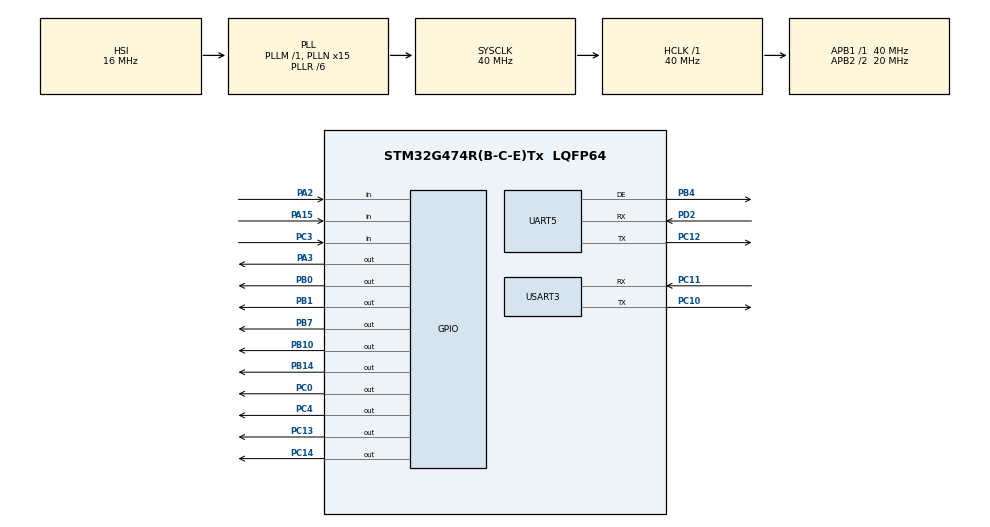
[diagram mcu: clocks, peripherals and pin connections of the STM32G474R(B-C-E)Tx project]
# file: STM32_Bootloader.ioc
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IWDG.Prescaler=IWDG_PRESCALER_8
Mcu.Family=STM32G4
Mcu.Name=STM32G474R(B-C-E)Tx
Mcu.Package=LQFP64
NVIC.PriorityGroup=NVIC_PRIORITYGROUP_4
PA13.Mode=Serial_Wire
PA13.Signal=SYS_JTMS-SWDIO
PA14.Mode=Serial_Wire
PA14.Signal=SYS_JTCK-SWCLK
PA15.GPIO_PuPd=GPIO_PULLDOWN
PA15.Signal=GPIO_Input
PA2.Signal=GPIO_Input
PA3.Signal=GPIO_Output
PB0.Signal=GPIO_Output
PB1.Signal=GPIO_Output
PB10.Signal=GPIO_Output
PB14.Signal=GPIO_Output
PB4.Mode=Hardware Flow Control (RS485)
PB4.Signal=UART5_DE
PB7.Signal=GPIO_Output
PC0.Signal=GPIO_Output
PC10.Mode=Asynchronous
PC10.Signal=USART3_TX
PC11.Mode=Asynchronous
PC11.Signal=USART3_RX
PC12.Mode=Asynchronous
PC12.Signal=UART5_TX
PC13.Signal=GPIO_Output
PC14-OSC32_IN.Signal=GPIO_Output
PC3.Signal=GPIO_Input
PC4.Signal=GPIO_Output
PD2.Mode=Asynchronous
PD2.Signal=UART5_RX
PF0-OSC_IN.Mode=HSE-External-Oscillator
PF0-OSC_IN.Signal=RCC_OSC_IN
PF1-OSC_OUT.Mode=HSE-External-Oscillator
PF1-OSC_OUT.Signal=RCC_OSC_OUT
ProjectManager.HeapSize=0x200
ProjectManager.StackSize=0x400
ProjectManager.TargetToolchain=STM32CubeIDE
RCC.ADC12Freq_Value=40000000
RCC.ADC345Freq_Value=40000000
RCC.AHBFreq_Value=40000000
RCC.APB1Freq_Value=40000000
RCC.APB1TimFreq_Value=40000000
RCC.APB2CLKDivider=RCC_HCLK_DIV2
RCC.APB2Freq_Value=20000000
RCC.APB2TimFreq_Value=40000000
RCC.CortexFreq_Value=40000000
RCC.EXTERNAL_CLOCK_VALUE=12288000
RCC.HCLKFreq_Value=40000000
RCC.HSE_VALUE=12000000
RCC.HSI48_VALUE=48000000
RCC.HSI_VALUE=16000000
RCC.LPTIM1CLockSelection=RCC_LPTIM1CLKSOURCE_LSI
RCC.LSE_VALUE=32768
RCC.PLLN=20
RCC.PLLR=RCC_PLLR_DIV6
RCC.PLLSourceVirtual=RCC_PLLSOURCE_HSE
RCC.SYSCLKFreq_VALUE=40000000
RCC.SYSCLKSource=RCC_SYSCLKSOURCE_PLLCLK
RCC.USBFreq_Value=120000000
RCC.VCOOutputFreq_Value=240000000
UART5.Parity=PARITY_EVEN
UART5.WordLength=WORDLENGTH_9B
USART3.VirtualMode-Asynchronous=VM_ASYNC
VP_IWDG_VS_IWDG.Mode=IWDG_Activate
VP_SYS_VS_DBSignals.Mode=DisableDeadBatterySignals
board=custom

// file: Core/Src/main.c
/* USER CODE BEGIN Header */
/**
  ******************************************************************************
  * @file           : main.c
  * @brief          : Main program body
  ******************************************************************************
  * @attention
  *
  * Copyright (c) 2024 STMicroelectronics.
  * All rights reserved.
  *
  * This software is licensed under terms that can be found in the LICENSE file
  * in the root directory of this software component.
  * If no LICENSE file comes with this software, it is provided AS-IS.
  *
  ******************************************************************************
  */
/* USER CODE END Header */
#include "main.h"

/* USER CODE BEGIN Includes */
#include "stm32g4xx_ll_rcc.h"
#include "stm32g4xx_ll_bus.h"
#include "app_openbootloader.h"
/* USER CODE END Includes */

IWDG_HandleTypeDef hiwdg;

UART_HandleTypeDef huart5;
UART_HandleTypeDef huart3;

void SystemClock_Config(void);
static void MX_GPIO_Init(void);
static void MX_UART5_Init(void);
static void MX_USART3_UART_Init(void);
static void MX_IWDG_Init(void);

/* USER CODE BEGIN 0 */
void System_DeInit(void)
{
  HAL_RCC_DeInit();
}
/* USER CODE END 0 */

int main(void)
{

  /* MCU Configuration--------------------------------------------------------*/

  /* Reset of all peripherals, Initializes the Flash interface and the Systick. */
  HAL_Init();

  /* Configure the system clock */
  SystemClock_Config();

  /* USER CODE BEGIN SysInit */

  MX_GPIO_Init();

  // both LEDs turn on in bootloader automatically
  //GPIOB->BRR = (1<<1);  // enable green LED
  //GPIOB->BSRR = (1<<1);  // disable green LED

  // check emergency button:
  HAL_Delay(1000);  // 1sec; 10ms should be enough
  // released means pin high -> boot application
  // pressed means pin low -> stay in bootloader
  if ( HAL_GPIO_ReadPin (GPIOA, GPIO_PIN_15) ) {
	// prevent noise
    if ( HAL_GPIO_ReadPin (GPIOA, GPIO_PIN_15) ) {

	// Store watchdog flag, because bootloader clears it
	if (__HAL_RCC_GET_FLAG(RCC_FLAG_IWDGRST) != RESET) {
		HAL_PWR_EnableBkUpAccess();
		TAMP->BKP0R = 0x57444721;  // "WDG!"
	}
	// start application
	OPENBL_FLASH_JumpToAddress(0x8000000+0x00008000U);
    }
  }

  OpenBootloader_Init();

  /*******************/
  /* enable RS485 DE */
  /*******************/

  // V1:  -> does not work
  //MX_UART5_Init();

  // V2:
  huart5.Instance = UART5;
  huart5.Init.BaudRate = 115200;
  huart5.Init.WordLength = UART_WORDLENGTH_9B;
  huart5.Init.StopBits = UART_STOPBITS_1;
  huart5.Init.Parity = UART_PARITY_EVEN;
  huart5.Init.Mode = UART_MODE_TX_RX;
  huart5.Init.HwFlowCtl = UART_HWCONTROL_NONE;
  huart5.Init.OverSampling = UART_OVERSAMPLING_16;
  huart5.Init.OneBitSampling = UART_ONE_BIT_SAMPLE_DISABLE;
  huart5.Init.ClockPrescaler = UART_PRESCALER_DIV1;
  huart5.AdvancedInit.AdvFeatureInit = UART_ADVFEATURE_NO_INIT;
  if (HAL_RS485Ex_Init(&huart5, UART_DE_POLARITY_HIGH, 0, 0) != HAL_OK)
  {
    Error_Handler();
  }

  /* Infinite loop */
  while (1)
  {
    OpenBootloader_ProtocolDetection();
  }

  // todo remove code below. It is not executed.

  /* USER CODE END SysInit */

  /* Initialize all configured peripherals */
  MX_GPIO_Init();
  MX_UART5_Init();
  MX_USART3_UART_Init();
  MX_IWDG_Init();

  /* Infinite loop */
  while (1)
  {

  }
}

void SystemClock_Config(void)
{
  RCC_OscInitTypeDef RCC_OscInitStruct = {0};
  RCC_ClkInitTypeDef RCC_ClkInitStruct = {0};

  /** Configure the main internal regulator output voltage
  */
  HAL_PWREx_ControlVoltageScaling(PWR_REGULATOR_VOLTAGE_SCALE1);

  /** Initializes the RCC Oscillators according to the specified parameters
  * in the RCC_OscInitTypeDef structure.
  */
  RCC_OscInitStruct.OscillatorType = RCC_OSCILLATORTYPE_HSI|RCC_OSCILLATORTYPE_LSI;
  RCC_OscInitStruct.HSIState = RCC_HSI_ON;
  RCC_OscInitStruct.HSICalibrationValue = RCC_HSICALIBRATION_DEFAULT;
  RCC_OscInitStruct.LSIState = RCC_LSI_ON;
  RCC_OscInitStruct.PLL.PLLState = RCC_PLL_ON;
  RCC_OscInitStruct.PLL.PLLSource = RCC_PLLSOURCE_HSI;
  RCC_OscInitStruct.PLL.PLLM = RCC_PLLM_DIV1;
  RCC_OscInitStruct.PLL.PLLN = 15;
  RCC_OscInitStruct.PLL.PLLP = RCC_PLLP_DIV2;
  RCC_OscInitStruct.PLL.PLLQ = RCC_PLLQ_DIV2;
  RCC_OscInitStruct.PLL.PLLR = RCC_PLLR_DIV6;
  if (HAL_RCC_OscConfig(&RCC_OscInitStruct) != HAL_OK)
  {
    Error_Handler();
  }

  /** Initializes the CPU, AHB and APB buses clocks
  */
  RCC_ClkInitStruct.ClockType = RCC_CLOCKTYPE_HCLK|RCC_CLOCKTYPE_SYSCLK
                              |RCC_CLOCKTYPE_PCLK1|RCC_CLOCKTYPE_PCLK2;
  RCC_ClkInitStruct.SYSCLKSource = RCC_SYSCLKSOURCE_PLLCLK;
  RCC_ClkInitStruct.AHBCLKDivider = RCC_SYSCLK_DIV1;
  RCC_ClkInitStruct.APB1CLKDivider = RCC_HCLK_DIV1;
  RCC_ClkInitStruct.APB2CLKDivider = RCC_HCLK_DIV2;

  if (HAL_RCC_ClockConfig(&RCC_ClkInitStruct, FLASH_LATENCY_1) != HAL_OK)
  {
    Error_Handler();
  }
}

static void MX_IWDG_Init(void)
{

  hiwdg.Instance = IWDG;
  hiwdg.Init.Prescaler = IWDG_PRESCALER_8;
  hiwdg.Init.Window = 4095;
  hiwdg.Init.Reload = 4095;
  if (HAL_IWDG_Init(&hiwdg) != HAL_OK)
  {
    Error_Handler();
  }

}

static void MX_UART5_Init(void)
{

  huart5.Instance = UART5;
  huart5.Init.BaudRate = 115200;
  huart5.Init.WordLength = UART_WORDLENGTH_9B;
  huart5.Init.StopBits = UART_STOPBITS_1;
  huart5.Init.Parity = UART_PARITY_EVEN;
  huart5.Init.Mode = UART_MODE_TX_RX;
  huart5.Init.HwFlowCtl = UART_HWCONTROL_NONE;
  huart5.Init.OverSampling = UART_OVERSAMPLING_16;
  huart5.Init.OneBitSampling = UART_ONE_BIT_SAMPLE_DISABLE;
  huart5.Init.ClockPrescaler = UART_PRESCALER_DIV1;
  huart5.AdvancedInit.AdvFeatureInit = UART_ADVFEATURE_NO_INIT;
  if (HAL_RS485Ex_Init(&huart5, UART_DE_POLARITY_HIGH, 0, 0) != HAL_OK)
  {
    Error_Handler();
  }
  if (HAL_UARTEx_SetTxFifoThreshold(&huart5, UART_TXFIFO_THRESHOLD_1_8) != HAL_OK)
  {
    Error_Handler();
  }
  if (HAL_UARTEx_SetRxFifoThreshold(&huart5, UART_RXFIFO_THRESHOLD_1_8) != HAL_OK)
  {
    Error_Handler();
  }
  if (HAL_UARTEx_DisableFifoMode(&huart5) != HAL_OK)
  {
    Error_Handler();
  }

}

static void MX_USART3_UART_Init(void)
{

  huart3.Instance = USART3;
  huart3.Init.BaudRate = 115200;
  huart3.Init.WordLength = UART_WORDLENGTH_8B;
  huart3.Init.StopBits = UART_STOPBITS_1;
  huart3.Init.Parity = UART_PARITY_NONE;
  huart3.Init.Mode = UART_MODE_TX_RX;
  huart3.Init.HwFlowCtl = UART_HWCONTROL_NONE;
  huart3.Init.OverSampling = UART_OVERSAMPLING_16;
  huart3.Init.OneBitSampling = UART_ONE_BIT_SAMPLE_DISABLE;
  huart3.Init.ClockPrescaler = UART_PRESCALER_DIV1;
  huart3.AdvancedInit.AdvFeatureInit = UART_ADVFEATURE_NO_INIT;
  if (HAL_UART_Init(&huart3) != HAL_OK)
  {
    Error_Handler();
  }
  if (HAL_UARTEx_SetTxFifoThreshold(&huart3, UART_TXFIFO_THRESHOLD_1_8) != HAL_OK)
  {
    Error_Handler();
  }
  if (HAL_UARTEx_SetRxFifoThreshold(&huart3, UART_RXFIFO_THRESHOLD_1_8) != HAL_OK)
  {
    Error_Handler();
  }
  if (HAL_UARTEx_DisableFifoMode(&huart3) != HAL_OK)
  {
    Error_Handler();
  }

}

static void MX_GPIO_Init(void)
{
  GPIO_InitTypeDef GPIO_InitStruct = {0};

  /* GPIO Ports Clock Enable */
  __HAL_RCC_GPIOC_CLK_ENABLE();
  __HAL_RCC_GPIOF_CLK_ENABLE();
  __HAL_RCC_GPIOA_CLK_ENABLE();
  __HAL_RCC_GPIOB_CLK_ENABLE();
  __HAL_RCC_GPIOD_CLK_ENABLE();

  /*Configure GPIO pin Output Level */
  HAL_GPIO_WritePin(GPIOC, GPIO_PIN_13|GPIO_PIN_14|GPIO_PIN_0|GPIO_PIN_4, GPIO_PIN_RESET);

  /*Configure GPIO pin Output Level */
  HAL_GPIO_WritePin(GPIOA, GPIO_PIN_3, GPIO_PIN_RESET);

  /*Configure GPIO pin Output Level */
  HAL_GPIO_WritePin(GPIOB, GPIO_PIN_0|GPIO_PIN_1|GPIO_PIN_10|GPIO_PIN_14
                          |GPIO_PIN_7, GPIO_PIN_RESET);

  /*Configure GPIO pins : PC13 PC14 PC0 PC4 */
  GPIO_InitStruct.Pin = GPIO_PIN_13|GPIO_PIN_14|GPIO_PIN_0|GPIO_PIN_4;
  GPIO_InitStruct.Mode = GPIO_MODE_OUTPUT_PP;
  GPIO_InitStruct.Pull = GPIO_NOPULL;
  GPIO_InitStruct.Speed = GPIO_SPEED_FREQ_LOW;
  HAL_GPIO_Init(GPIOC, &GPIO_InitStruct);

  /*Configure GPIO pin : PC3 */
  GPIO_InitStruct.Pin = GPIO_PIN_3;
  GPIO_InitStruct.Mode = GPIO_MODE_INPUT;
  GPIO_InitStruct.Pull = GPIO_NOPULL;
  HAL_GPIO_Init(GPIOC, &GPIO_InitStruct);

  /*Configure GPIO pin : PA2 */
  GPIO_InitStruct.Pin = GPIO_PIN_2;
  GPIO_InitStruct.Mode = GPIO_MODE_INPUT;
  GPIO_InitStruct.Pull = GPIO_NOPULL;
  HAL_GPIO_Init(GPIOA, &GPIO_InitStruct);

  /*Configure GPIO pin : PA3 */
  GPIO_InitStruct.Pin = GPIO_PIN_3;
  GPIO_InitStruct.Mode = GPIO_MODE_OUTPUT_PP;
  GPIO_InitStruct.Pull = GPIO_NOPULL;
  GPIO_InitStruct.Speed = GPIO_SPEED_FREQ_LOW;
  HAL_GPIO_Init(GPIOA, &GPIO_InitStruct);

  /*Configure GPIO pins : PB0 PB1 PB10 PB14
                           PB7 */
  GPIO_InitStruct.Pin = GPIO_PIN_0|GPIO_PIN_1|GPIO_PIN_10|GPIO_PIN_14
                          |GPIO_PIN_7;
  GPIO_InitStruct.Mode = GPIO_MODE_OUTPUT_PP;
  GPIO_InitStruct.Pull = GPIO_NOPULL;
  GPIO_InitStruct.Speed = GPIO_SPEED_FREQ_LOW;
  HAL_GPIO_Init(GPIOB, &GPIO_InitStruct);

  /*Configure GPIO pin : PA15 */
  GPIO_InitStruct.Pin = GPIO_PIN_15;
  GPIO_InitStruct.Mode = GPIO_MODE_INPUT;
  GPIO_InitStruct.Pull = GPIO_PULLDOWN;
  HAL_GPIO_Init(GPIOA, &GPIO_InitStruct);

}

void Error_Handler(void)
{
  __disable_irq();
  while (1)
  {
  }
}
